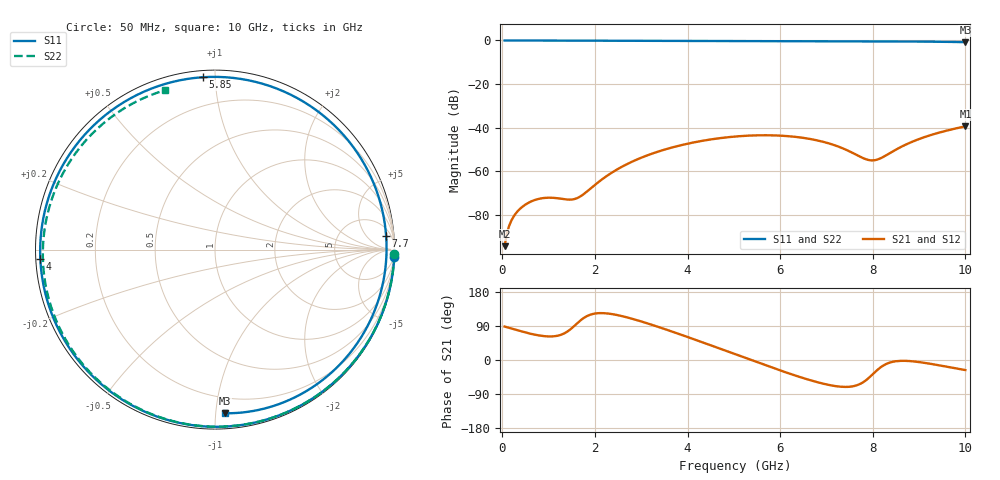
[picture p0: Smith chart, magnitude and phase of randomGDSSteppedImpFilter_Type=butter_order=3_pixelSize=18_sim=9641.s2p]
! freq	dB(S11)	phase(S11)	dB(S12)	phase(S12)
!  dB(S21)	phase(S21)	dB(S22)	phase(S22)
!S-par simulation data
#  GHz  S  DB  R 50
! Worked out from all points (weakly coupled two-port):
!   200 points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, 50 MHz to 10 GHz, reference 50 ohm
!   highest |S21| = -39.39 dB at 10 GHz (marker M1); lowest = -94.4 dB at 50 MHz (marker M2)
!   lowest |S11| = -0.8 dB at 10 GHz (marker M3), VSWR 22.13, Z = 4.8 - j53 ohm
!   |S11| at or under -10 dB: nowhere
!   |S22| runs from -0.6 to 0.0 dB; largest |S21 - S12| = 0
!   S11 on the Smith chart (normalised r, x): 50 MHz: 0, -49; 4 GHz: 0.01, -0.03; 5.85 GHz: 0.04, +0.93; 7.7 GHz: 11, +19; 10 GHz: 0.10, -1.06
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0.05  -0.00 -2.3  -94.38 88.2  -94.38 88.2  -0.00 -1.4
0.25  -0.02 -11.5  -80.61 81.2  -80.61 81.2  -0.01 -7.0
0.5  -0.03 -22.8  -75.29 72.7  -75.29 72.7  -0.02 -13.9
0.75  -0.04 -34.1  -72.89 65.7  -72.89 65.7  -0.03 -20.7
1.5  -0.09 -67.6  -72.98 83.9  -72.98 83.9  -0.05 -41.0
1.75  -0.10 -78.6  -70.62 110.2  -70.62 110.2  -0.06 -47.6
2.15  -0.12 -96.0  -63.79 123.8  -63.79 123.8  -0.07 -58.0
2.55  -0.14 -113.3  -58.32 116.8  -58.32 116.8  -0.09 -68.2
3.4  -0.19 -150.1  -50.75 86.1  -50.75 86.1  -0.12 -89.2
4  -0.22 -176.8  -47.38 60.7  -47.38 60.7  -0.14 -103.5
4.5  -0.26 160.2  -45.41 38.8  -45.41 38.8  -0.16 -115.1
5.05  -0.29 133.9  -44.04 14.3  -44.04 14.3  -0.19 -127.7
5.45  -0.31 114.2  -43.56 -3.5  -43.56 -3.5  -0.22 -136.8
5.85  -0.33 94.1  -43.54 -21.1  -43.54 -21.1  -0.24 -145.8
6.25  -0.34 74.0  -44.06 -37.9  -44.06 -37.9  -0.27 -154.9
6.7  -0.36 51.5  -45.41 -55.1  -45.41 -55.1  -0.31 -165.3
7.2  -0.37 27.4  -48.25 -69.0  -48.25 -69.0  -0.35 -177.0
7.7  -0.39 4.5  -53.04 -64.6  -53.04 -64.6  -0.40 170.9
8  -0.40 -8.5  -55.03 -37.5  -55.03 -37.5  -0.43 163.5
8.35  -0.43 -23.0  -51.93 -7.6  -51.93 -7.6  -0.46 154.5
9.2  -0.55 -56.0  -43.76 -9.1  -43.76 -9.1  -0.55 131.3
10  -0.79 -86.5  -39.39 -26.6  -39.39 -26.6  -0.63 107.6
